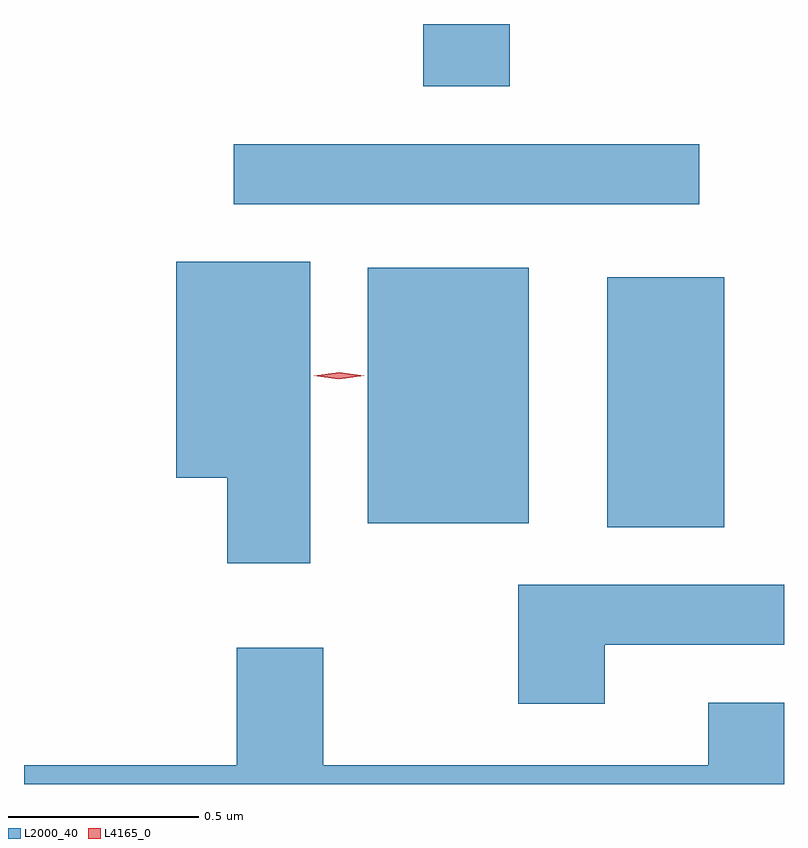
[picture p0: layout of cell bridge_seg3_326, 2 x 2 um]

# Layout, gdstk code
import gdstk
lib = gdstk.Library(unit=1e-6, precision=1e-09)
def R(c, l, rs):  # rectangles x0, y0, x1, y1
    for r in rs: c.add(gdstk.rectangle(r[:2], r[2:], *l))
def P(c, l, *ps):  # polygons
    for p in ps: c.add(gdstk.Polygon(p, *l))
L2000_40 = (2000, 40)
L4165_0 = (4165, 0)

bridge_seg3_326 = lib.new_cell('bridge_seg3_326')
R(bridge_seg3_326, L2000_40, [(609.976,1133.571,610.284,1134.229), (609.346,1133.581,609.769,1134.254), (608.993,1134.421,610.218,1134.579), (609.491,1134.731,609.719,1134.895)])
P(bridge_seg3_326, L2000_40, [(609.194,1134.269),(608.841,1134.269),(608.841,1133.701),(608.976,1133.701),(608.976,1133.476),(609.194,1133.476)],
  [(609.969,1133.261),(610.441,1133.261),(610.441,1133.419),(609.741,1133.419),(609.741,1133.106),(609.969,1133.106)],
  [(610.441,1133.109),(610.241,1133.109),(610.241,1132.944),(609.229,1132.944),(609.229,1133.254),(609.001,1133.254),(609.001,1132.944),(608.441,1132.944),(608.441,1132.895),(610.441,1132.895)])
P(bridge_seg3_326, L4165_0, [(609.269,1133.96),(609.203,1133.969),(609.203,1133.97),(609.203,1133.97),(609.27,1133.979),(609.336,1133.97),(609.336,1133.969),(609.336,1133.969)])

lib.write_gds('bridge_seg3_326.gds')
